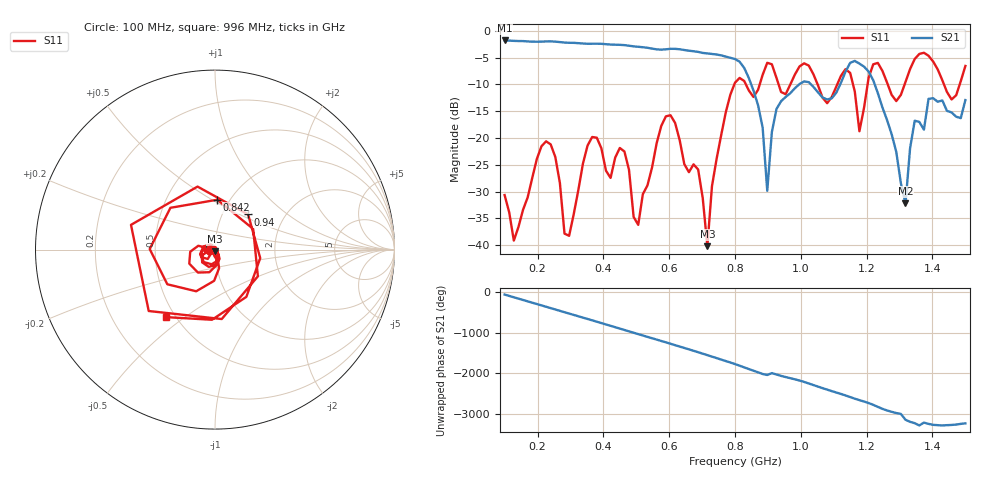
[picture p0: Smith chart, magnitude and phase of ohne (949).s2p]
! NanoVNA-App
! Date: 2025-09-25 14:28:11
! Start: 100MHz Stop: 1,5GHz Points: 101
! S-Parameter data: F S11 S21 S12 S22
# Hz S RI R 50
!  Frequency  S11_Real  S11_Imag  S21_Real  S21_Imag  S12_Real  S12_Imag  S22_Real  S22_Imag
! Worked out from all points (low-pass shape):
!   101 points, 100 MHz to 1.5 GHz, reference 50 ohm
!   highest |S21| = -1.79 dB at 100 MHz (marker M1); lowest = -32.2 dB at 1.318 GHz (marker M2)
!   |S21| within 3 dB of the highest: start of sweep to 771.2 MHz
!   lowest |S11| = -40.2 dB at 716 MHz (marker M3), VSWR 1.02, Z = 49.8 - j0.963 ohm
!   |S11| at or under -10 dB: start of sweep to 797.9 MHz; 833.1 MHz to 875 MHz (41.93 MHz wide, 4.91 % of centre); 1.051 GHz to 1.111 GHz (59.45 MHz wide, 5.5 % of centre) (the widest 3 of 7)
!   S12 and S22 are empty: the file has one direction only
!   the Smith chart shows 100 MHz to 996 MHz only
!   S11 on the Smith chart (normalised r, x): 100 MHz: 0.94, -0.01; 842 MHz: 0.88, +0.53; 940 MHz: 1.32, +0.56; 996 MHz: 0.44, -0.43
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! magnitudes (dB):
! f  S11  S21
! 100 MHz  -30.6  -1.8
! 128 MHz  -39.1  -1.9
! 226 MHz  -20.6  -2.0
! 296 MHz  -38.2  -2.2
! 338 MHz  -24.8  -2.4
! 464 MHz  -22.5  -2.7
! 506 MHz  -36.2  -3.0
! 576 MHz  -17.7  -3.5
! 688 MHz  -25.9  -3.9
! 716 MHz  -40.2  -4.2
! 800 MHz  -9.7  -5.3
! 842 MHz  -11.1  -8.8
! 898 MHz  -6.0  -29.8
! 940 MHz  -11.4  -13.1
! 996 MHz  -6.6  -9.9
! 1.038 GHz  -8.1  -10.4
! 1.178 GHz  -18.7  -6.1
! 1.22 GHz  -6.2  -9.2
! 1.276 GHz  -12.0  -19.3
! 1.318 GHz  -9.5  -32.2
! 1.346 GHz  -5.3  -16.8
! 1.5 GHz  -6.5  -12.9
